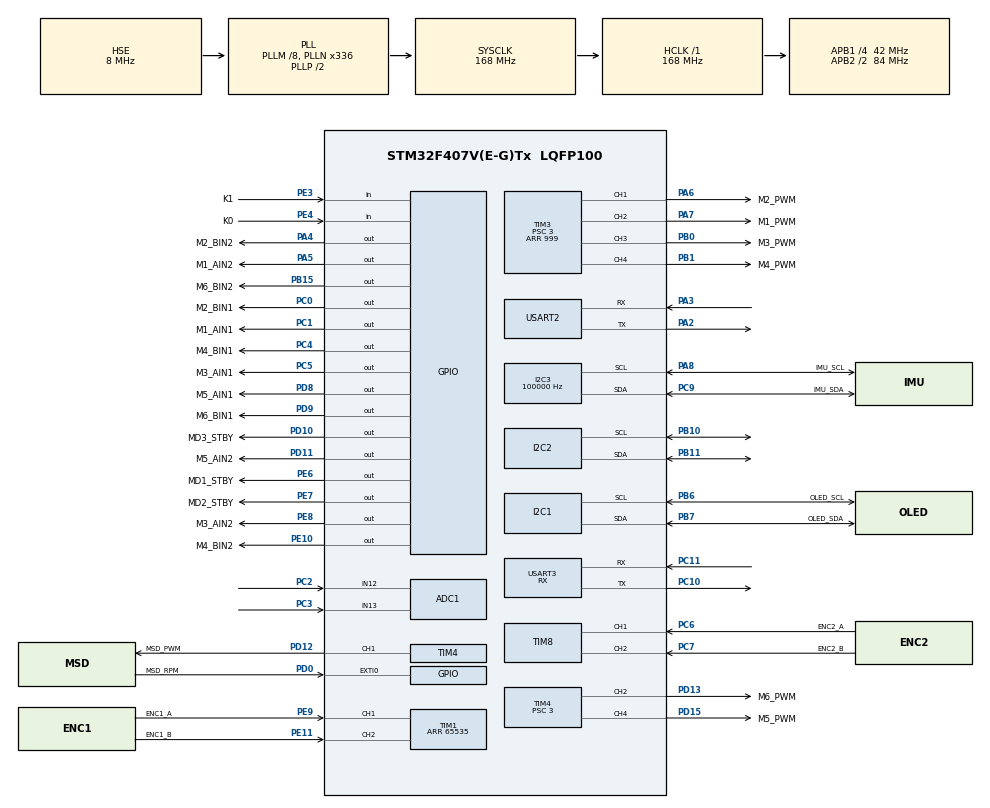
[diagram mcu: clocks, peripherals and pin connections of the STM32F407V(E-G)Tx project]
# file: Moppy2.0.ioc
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ADC1.Channel-0\#ChannelRegularConversion=ADC_CHANNEL_12
ADC1.NbrOfConversionFlag=1
ADC1.Rank-0\#ChannelRegularConversion=1
ADC1.SamplingTime-0\#ChannelRegularConversion=ADC_SAMPLETIME_3CYCLES
ADC1.master=1
Dma.I2C1_TX.1.Direction=DMA_MEMORY_TO_PERIPH
Dma.I2C1_TX.1.FIFOMode=DMA_FIFOMODE_DISABLE
Dma.I2C1_TX.1.Instance=DMA1_Stream6
Dma.I2C1_TX.1.MemDataAlignment=DMA_MDATAALIGN_BYTE
Dma.I2C1_TX.1.MemInc=DMA_MINC_ENABLE
Dma.I2C1_TX.1.Mode=DMA_NORMAL
Dma.I2C1_TX.1.PeriphDataAlignment=DMA_PDATAALIGN_BYTE
Dma.I2C1_TX.1.PeriphInc=DMA_PINC_DISABLE
Dma.I2C1_TX.1.Priority=DMA_PRIORITY_LOW
Dma.I2C2_RX.0.Direction=DMA_PERIPH_TO_MEMORY
Dma.I2C2_RX.0.FIFOMode=DMA_FIFOMODE_DISABLE
Dma.I2C2_RX.0.Instance=DMA1_Stream3
Dma.I2C2_RX.0.MemDataAlignment=DMA_MDATAALIGN_BYTE
Dma.I2C2_RX.0.MemInc=DMA_MINC_ENABLE
Dma.I2C2_RX.0.Mode=DMA_NORMAL
Dma.I2C2_RX.0.PeriphDataAlignment=DMA_PDATAALIGN_BYTE
Dma.I2C2_RX.0.PeriphInc=DMA_PINC_DISABLE
Dma.I2C2_RX.0.Priority=DMA_PRIORITY_LOW
Dma.I2C3_RX.3.Direction=DMA_PERIPH_TO_MEMORY
Dma.I2C3_RX.3.FIFOMode=DMA_FIFOMODE_DISABLE
Dma.I2C3_RX.3.Instance=DMA1_Stream2
Dma.I2C3_RX.3.MemDataAlignment=DMA_MDATAALIGN_BYTE
Dma.I2C3_RX.3.MemInc=DMA_MINC_ENABLE
Dma.I2C3_RX.3.Mode=DMA_NORMAL
Dma.I2C3_RX.3.PeriphDataAlignment=DMA_PDATAALIGN_BYTE
Dma.I2C3_RX.3.PeriphInc=DMA_PINC_DISABLE
Dma.I2C3_RX.3.Priority=DMA_PRIORITY_LOW
Dma.I2C3_TX.4.Direction=DMA_MEMORY_TO_PERIPH
Dma.I2C3_TX.4.FIFOMode=DMA_FIFOMODE_DISABLE
Dma.I2C3_TX.4.Instance=DMA1_Stream4
Dma.I2C3_TX.4.MemDataAlignment=DMA_MDATAALIGN_BYTE
Dma.I2C3_TX.4.MemInc=DMA_MINC_ENABLE
Dma.I2C3_TX.4.Mode=DMA_NORMAL
Dma.I2C3_TX.4.PeriphDataAlignment=DMA_PDATAALIGN_BYTE
Dma.I2C3_TX.4.PeriphInc=DMA_PINC_DISABLE
Dma.I2C3_TX.4.Priority=DMA_PRIORITY_LOW
Dma.Request0=I2C2_RX
Dma.Request1=I2C1_TX
Dma.Request2=USART3_RX
Dma.Request3=I2C3_RX
Dma.Request4=I2C3_TX
Dma.USART3_RX.2.Direction=DMA_PERIPH_TO_MEMORY
Dma.USART3_RX.2.FIFOMode=DMA_FIFOMODE_DISABLE
Dma.USART3_RX.2.Instance=DMA1_Stream1
Dma.USART3_RX.2.MemDataAlignment=DMA_MDATAALIGN_BYTE
Dma.USART3_RX.2.MemInc=DMA_MINC_ENABLE
Dma.USART3_RX.2.Mode=DMA_CIRCULAR
Dma.USART3_RX.2.PeriphDataAlignment=DMA_PDATAALIGN_BYTE
Dma.USART3_RX.2.PeriphInc=DMA_PINC_DISABLE
Dma.USART3_RX.2.Priority=DMA_PRIORITY_VERY_HIGH
I2C1.I2C_Mode=I2C_Fast
I2C2.I2C_Mode=I2C_Fast
I2C3.ClockSpeed=100000
I2C3.I2C_Mode=I2C_Fast
IWDG.Prescaler=IWDG_PRESCALER_64
Mcu.Family=STM32F4
Mcu.Name=STM32F407V(E-G)Tx
Mcu.Package=LQFP100
NVIC.DMA1_Stream1_IRQn=true\:0\:0\:false\:false\:true\:false\:true\:true
NVIC.DMA1_Stream2_IRQn=true\:0\:0\:false\:false\:true\:false\:true\:true
NVIC.DMA1_Stream3_IRQn=true\:0\:0\:false\:false\:true\:false\:true\:true
NVIC.DMA1_Stream4_IRQn=true\:0\:0\:false\:false\:true\:false\:true\:true
NVIC.DMA1_Stream6_IRQn=true\:0\:0\:false\:false\:true\:false\:true\:true
NVIC.EXTI0_IRQn=true\:0\:0\:false\:false\:true\:true\:true\:true
NVIC.I2C1_ER_IRQn=true\:0\:0\:false\:false\:true\:true\:true\:true
NVIC.I2C1_EV_IRQn=true\:0\:0\:false\:false\:true\:true\:true\:true
NVIC.I2C2_ER_IRQn=true\:0\:0\:false\:false\:true\:true\:true\:true
NVIC.I2C2_EV_IRQn=true\:0\:0\:false\:false\:true\:true\:true\:true
NVIC.I2C3_ER_IRQn=true\:0\:0\:false\:false\:true\:true\:true\:true
NVIC.I2C3_EV_IRQn=true\:0\:0\:false\:false\:true\:true\:true\:true
NVIC.PriorityGroup=NVIC_PRIORITYGROUP_4
NVIC.TIM1_UP_TIM10_IRQn=true\:0\:0\:false\:false\:true\:true\:true\:true
NVIC.TIM8_UP_TIM13_IRQn=true\:0\:0\:false\:false\:true\:true\:true\:true
NVIC.USART3_IRQn=true\:0\:0\:false\:false\:true\:true\:true\:true
PA13.Mode=Serial_Wire
PA13.Signal=SYS_JTMS-SWDIO
PA14.Mode=Serial_Wire
PA14.Signal=SYS_JTCK-SWCLK
PA2.Mode=Asynchronous
PA2.Signal=USART2_TX
PA3.Mode=Asynchronous
PA3.Signal=USART2_RX
PA4.GPIO_Label=M2_BIN2
PA4.Signal=GPIO_Output
PA5.GPIO_Label=M1_AIN2
PA5.Signal=GPIO_Output
PA6.GPIO_Label=M2_PWM
PA6.Signal=S_TIM3_CH1
PA7.GPIO_Label=M1_PWM
PA7.Signal=S_TIM3_CH2
PA8.GPIO_Label=IMU_SCL
PA8.GPIO_Pu=GPIO_PULLUP
PA8.Mode=I2C
PA8.Signal=I2C3_SCL
PB0.GPIO_Label=M3_PWM
PB0.Signal=S_TIM3_CH3
PB1.GPIO_Label=M4_PWM
PB1.Signal=S_TIM3_CH4
PB10.Mode=I2C
PB10.Signal=I2C2_SCL
PB11.Mode=I2C
PB11.Signal=I2C2_SDA
PB15.GPIO_Label=M6_BIN2
PB15.Signal=GPIO_Output
PB6.GPIO_Label=OLED_SCL
PB6.GPIO_Pu=GPIO_PULLUP
PB6.Mode=I2C
PB6.Signal=I2C1_SCL
PB7.GPIO_Label=OLED_SDA
PB7.GPIO_Pu=GPIO_PULLUP
PB7.Mode=I2C
PB7.Signal=I2C1_SDA
PC0.GPIO_Label=M2_BIN1
PC0.Signal=GPIO_Output
PC1.GPIO_Label=M1_AIN1
PC1.Signal=GPIO_Output
PC10.Mode=Asynchronous
PC10.Signal=USART3_TX
PC11.GPIO_PuPd=GPIO_PULLUP
PC11.Mode=Asynchronous
PC11.Signal=USART3_RX
PC2.Signal=ADCx_IN12
PC3.Signal=ADCx_IN13
PC4.GPIO_Label=M4_BIN1
PC4.Signal=GPIO_Output
PC5.GPIO_Label=M3_AIN1
PC5.Signal=GPIO_Output
PC6.GPIO_Label=ENC2_A
PC6.GPIO_PuPd=GPIO_PULLUP
PC6.Signal=S_TIM8_CH1
PC7.GPIO_Label=ENC2_B
PC7.GPIO_PuPd=GPIO_PULLUP
PC7.Signal=S_TIM8_CH2
PC9.GPIO_Label=IMU_SDA
PC9.GPIO_Pu=GPIO_PULLUP
PC9.Mode=I2C
PC9.Signal=I2C3_SDA
PD0.GPIO_Label=MSD_RPM
PD0.GPIO_PuPd=GPIO_PULLUP
PD0.Signal=GPXTI0
PD10.GPIO_Label=MD3_STBY
PD10.Signal=GPIO_Output
PD11.GPIO_Label=M5_AIN2
PD11.Signal=GPIO_Output
PD12.GPIO_Label=MSD_PWM
PD12.Signal=S_TIM4_CH1
PD13.GPIO_Label=M6_PWM
PD13.Signal=S_TIM4_CH2
PD15.GPIO_Label=M5_PWM
PD15.Signal=S_TIM4_CH4
PD8.GPIO_Label=M5_AIN1
PD8.Signal=GPIO_Output
PD9.GPIO_Label=M6_BIN1
PD9.Signal=GPIO_Output
PE10.GPIO_Label=M4_BIN2
PE10.Signal=GPIO_Output
PE11.GPIO_Label=ENC1_B
PE11.GPIO_PuPd=GPIO_PULLUP
PE11.Signal=S_TIM1_CH2
PE3.GPIO_Label=K1
PE3.GPIO_PuPd=GPIO_PULLUP
PE3.Signal=GPIO_Input
PE4.GPIO_Label=K0
PE4.GPIO_PuPd=GPIO_PULLUP
PE4.Signal=GPIO_Input
PE6.GPIO_Label=MD1_STBY
PE6.Signal=GPIO_Output
PE7.GPIO_Label=MD2_STBY
PE7.Signal=GPIO_Output
PE8.GPIO_Label=M3_AIN2
PE8.Signal=GPIO_Output
PE9.GPIO_Label=ENC1_A
PE9.GPIO_PuPd=GPIO_PULLUP
PE9.Signal=S_TIM1_CH1
PH0-OSC_IN.Mode=HSE-External-Oscillator
PH0-OSC_IN.Signal=RCC_OSC_IN
PH1-OSC_OUT.Mode=HSE-External-Oscillator
PH1-OSC_OUT.Signal=RCC_OSC_OUT
ProjectManager.HeapSize=0x200
ProjectManager.StackSize=0x400
ProjectManager.TargetToolchain=STM32CubeIDE
RCC.48MHZClocksFreq_Value=84000000
RCC.AHBFreq_Value=168000000
RCC.APB1CLKDivider=RCC_HCLK_DIV4
RCC.APB1Freq_Value=42000000
RCC.APB1TimFreq_Value=84000000
RCC.APB2CLKDivider=RCC_HCLK_DIV2
RCC.APB2Freq_Value=84000000
RCC.APB2TimFreq_Value=168000000
RCC.CortexFreq_Value=168000000
RCC.HCLKFreq_Value=168000000
RCC.HSE_VALUE=8000000
RCC.HSI_VALUE=16000000
RCC.LSE_VALUE=32768
RCC.PLLM=8
RCC.PLLN=336
RCC.PLLSourceVirtual=RCC_PLLSOURCE_HSE
RCC.SYSCLKFreq_VALUE=168000000
RCC.SYSCLKSource=RCC_SYSCLKSOURCE_PLLCLK
RCC.VCOOutputFreq_Value=336000000
SH.ADCx_IN12.0=ADC1_IN12,IN12
SH.ADCx_IN13.0=ADC1_IN13,IN13
SH.S_TIM1_CH1.0=TIM1_CH1,Encoder_Interface
SH.S_TIM1_CH2.0=TIM1_CH2,Encoder_Interface
SH.S_TIM3_CH1.0=TIM3_CH1,PWM Generation1 CH1
SH.S_TIM3_CH2.0=TIM3_CH2,PWM Generation2 CH2
SH.S_TIM3_CH3.0=TIM3_CH3,PWM Generation3 CH3
SH.S_TIM3_CH4.0=TIM3_CH4,PWM Generation4 CH4
SH.S_TIM4_CH1.0=TIM4_CH1,PWM Generation1 CH1
SH.S_TIM4_CH2.0=TIM4_CH2,PWM Generation2 CH2
SH.S_TIM4_CH4.0=TIM4_CH4,PWM Generation4 CH4
SH.S_TIM8_CH1.0=TIM8_CH1,Encoder_Interface
SH.S_TIM8_CH2.0=TIM8_CH2,Encoder_Interface
TIM1.AutoReloadPreload=TIM_AUTORELOAD_PRELOAD_ENABLE
TIM1.EncoderMode=TIM_ENCODERMODE_TI12
TIM1.IC2Filter=0
TIM1.Period=65535
TIM3.AutoReloadPreload=TIM_AUTORELOAD_PRELOAD_ENABLE
TIM3.Channel-PWM\ Generation1\ CH1=TIM_CHANNEL_1
TIM3.Channel-PWM\ Generation2\ CH2=TIM_CHANNEL_2
TIM3.Channel-PWM\ Generation3\ CH3=TIM_CHANNEL_3
TIM3.Channel-PWM\ Generation4\ CH4=TIM_CHANNEL_4
TIM3.Period=999
TIM3.Prescaler=3
TIM4.AutoReloadPreload=TIM_AUTORELOAD_PRELOAD_ENABLE
TIM4.Channel-PWM\ Generation1\ CH1=TIM_CHANNEL_1
TIM4.Channel-PWM\ Generation2\ CH2=TIM_CHANNEL_2
TIM4.Channel-PWM\ Generation4\ CH4=TIM_CHANNEL_4
TIM4.Period=999
TIM4.Prescaler=3
TIM8.AutoReloadPreload=TIM_AUTORELOAD_PRELOAD_ENABLE
TIM8.EncoderMode=TIM_ENCODERMODE_TI12
USART2.VirtualMode=VM_ASYNC
USART3.Mode=MODE_RX
USART3.VirtualMode=VM_ASYNC
VP_IWDG_VS_IWDG.Mode=IWDG_Activate
VP_TIM3_VS_ClockSourceINT.Mode=Internal
VP_TIM4_VS_ClockSourceINT.Mode=Internal
board=custom

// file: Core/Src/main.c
/* USER CODE BEGIN Header */
/**
  ******************************************************************************
  * @file           : main.c
  * @brief          : Main program body
  ******************************************************************************
  * @attention
  *
  * Copyright (c) 2026 STMicroelectronics.
  * All rights reserved.
  *
  * This software is licensed under terms that can be found in the LICENSE file
  * in the root directory of this software component.
  * If no LICENSE file comes with this software, it is provided AS-IS.
  *
  ******************************************************************************
  */
/* USER CODE END Header */
#include "main.h"
#include "cmsis_os.h"

/* USER CODE BEGIN Includes */
#include "general.h"
#include "telemetry.h"
/* USER CODE END Includes */

ADC_HandleTypeDef hadc1;

I2C_HandleTypeDef hi2c1;
I2C_HandleTypeDef hi2c2;
I2C_HandleTypeDef hi2c3;
DMA_HandleTypeDef hdma_i2c1_tx;
DMA_HandleTypeDef hdma_i2c3_rx;
DMA_HandleTypeDef hdma_i2c3_tx;

IWDG_HandleTypeDef hiwdg;

TIM_HandleTypeDef htim1;
TIM_HandleTypeDef htim3;
TIM_HandleTypeDef htim4;
TIM_HandleTypeDef htim8;

UART_HandleTypeDef huart2;
UART_HandleTypeDef huart3;
DMA_HandleTypeDef hdma_usart2_tx;
DMA_HandleTypeDef hdma_usart2_rx;
DMA_HandleTypeDef hdma_usart3_rx;

/* Definitions for ImuTask */
osThreadId_t ImuTaskHandle;
const osThreadAttr_t ImuTask_attributes = {
  .name = "ImuTask",
  .stack_size = 256 * 4,
  .priority = (osPriority_t) osPriorityNormal,
};
/* Definitions for WheelTask */
osThreadId_t WheelTaskHandle;
const osThreadAttr_t WheelTask_attributes = {
  .name = "WheelTask",
  .stack_size = 256 * 4,
  .priority = (osPriority_t) osPriorityHigh,
};
/* Definitions for GeneralTask */
osThreadId_t GeneralTaskHandle;
const osThreadAttr_t GeneralTask_attributes = {
  .name = "GeneralTask",
  .stack_size = 512 * 4,
  .priority = (osPriority_t) osPriorityLow3,
};
/* Definitions for TelemetryTask */
osThreadId_t TelemetryTaskHandle;
const osThreadAttr_t TelemetryTask_attributes = {
  .name = "TelemetryTask",
  .stack_size = 384 * 4,
  .priority = (osPriority_t) osPriorityLow,
};
/* USER CODE BEGIN PV */

#if DEBUG_BOOT_STAGES
volatile uint32_t debug_boot_stage = 0;
#endif

#if DEBUG_GENERAL_RUN_COUNT
volatile uint32_t debug_general_run_count = 0;
#endif

volatile uint32_t debug_chassis_dt_ms = 0U;
volatile uint32_t debug_chassis_dt_max_ms = 0U;
volatile uint32_t debug_chassis_late_count = 0U;
/* USER CODE END PV */

void SystemClock_Config(void);
static void MX_GPIO_Init(void);
static void MX_DMA_Init(void);
static void MX_TIM1_Init(void);
static void MX_IWDG_Init(void);
static void MX_TIM3_Init(void);
static void MX_TIM4_Init(void);
static void MX_TIM8_Init(void);
static void MX_I2C2_Init(void);
static void MX_I2C1_Init(void);
static void MX_ADC1_Init(void);
static void MX_I2C3_Init(void);
static void MX_USART2_UART_Init(void);
static void MX_USART3_UART_Init(void);
void StartImuTask(void *argument);
void StartWheelTask(void *argument);
void StartGeneralTask(void *argument);
void StartTelemetryTask(void *argument);

int main(void)
{

  /* MCU Configuration--------------------------------------------------------*/

  /* Reset of all peripherals, Initializes the Flash interface and the Systick. */
  HAL_Init();

  /* Configure the system clock */
  SystemClock_Config();

  /* Initialize all configured peripherals */
  MX_GPIO_Init();
  MX_DMA_Init();
  MX_TIM1_Init();
  MX_IWDG_Init();
  MX_TIM3_Init();
  MX_TIM4_Init();
  MX_TIM8_Init();
  MX_I2C2_Init();
  MX_I2C1_Init();
  MX_ADC1_Init();
  MX_I2C3_Init();
  MX_USART2_UART_Init();
  MX_USART3_UART_Init();
  /* USER CODE BEGIN 2 */
  /*DEBUG_BOOT_STAGE(1);
  HAL_Init();

  DEBUG_BOOT_STAGE(2);
  SystemClock_Config();

  DEBUG_BOOT_STAGE(3);
  MX_GPIO_Init();

  DEBUG_BOOT_STAGE(4);
  MX_DMA_Init();

  DEBUG_BOOT_STAGE(5);
  MX_TIM1_Init();

  DEBUG_BOOT_STAGE(6);
  MX_IWDG_Init();

  DEBUG_BOOT_STAGE(7);
  MX_TIM3_Init();

  DEBUG_BOOT_STAGE(8);
  MX_TIM4_Init();

  DEBUG_BOOT_STAGE(9);
  MX_TIM8_Init();

  DEBUG_BOOT_STAGE(10);
  MX_I2C2_Init();

  DEBUG_BOOT_STAGE(11);
  MX_I2C1_Init();

  DEBUG_BOOT_STAGE(12);
  MX_ADC1_Init();

  DEBUG_BOOT_STAGE(13);
  MX_I2C3_Init();

  DEBUG_BOOT_STAGE(14);
  MX_USART2_UART_Init();

  DEBUG_BOOT_STAGE(15);
  MX_USART3_UART_Init();*/

  DEBUG_BOOT_STAGE(20);
  General_Init();

  DEBUG_BOOT_STAGE(21);
  Telemetry_Init();
  //MainWheels_Init();
  /* USER CODE END 2 */

  /* Init scheduler */
  osKernelInitialize();

  /* Create the thread(s) */
  /* creation of ImuTask */
  ImuTaskHandle = osThreadNew(StartImuTask, NULL, &ImuTask_attributes);

  /* creation of WheelTask */
  WheelTaskHandle = osThreadNew(StartWheelTask, NULL, &WheelTask_attributes);

  /* creation of GeneralTask */
  GeneralTaskHandle = osThreadNew(StartGeneralTask, NULL, &GeneralTask_attributes);

  /* creation of TelemetryTask */
  TelemetryTaskHandle = osThreadNew(StartTelemetryTask, NULL, &TelemetryTask_attributes);

  /* Start scheduler */
  osKernelStart();

  /* We should never get here as control is now taken by the scheduler */

  /* Infinite loop */
  /* USER CODE BEGIN WHILE */
  while (1)
  {
	  /*
	    DEBUG_GENERAL_RUN_COUNT_INC();
	    DEBUG_BOOT_STAGE(22);
	    General_Run();
	    DEBUG_BOOT_STAGE(23);
	    */
    /* USER CODE END WHILE */

  }
}

void SystemClock_Config(void)
{
  RCC_OscInitTypeDef RCC_OscInitStruct = {0};
  RCC_ClkInitTypeDef RCC_ClkInitStruct = {0};

  /** Configure the main internal regulator output voltage
  */
  __HAL_RCC_PWR_CLK_ENABLE();
  __HAL_PWR_VOLTAGESCALING_CONFIG(PWR_REGULATOR_VOLTAGE_SCALE1);

  /** Initializes the RCC Oscillators according to the specified parameters
  * in the RCC_OscInitTypeDef structure.
  */
  RCC_OscInitStruct.OscillatorType = RCC_OSCILLATORTYPE_LSI|RCC_OSCILLATORTYPE_HSE;
  RCC_OscInitStruct.HSEState = RCC_HSE_ON;
  RCC_OscInitStruct.LSIState = RCC_LSI_ON;
  RCC_OscInitStruct.PLL.PLLState = RCC_PLL_ON;
  RCC_OscInitStruct.PLL.PLLSource = RCC_PLLSOURCE_HSE;
  RCC_OscInitStruct.PLL.PLLM = 8;
  RCC_OscInitStruct.PLL.PLLN = 336;
  RCC_OscInitStruct.PLL.PLLP = RCC_PLLP_DIV2;
  RCC_OscInitStruct.PLL.PLLQ = 4;
  if (HAL_RCC_OscConfig(&RCC_OscInitStruct) != HAL_OK)
  {
    Error_Handler();
  }

  /** Initializes the CPU, AHB and APB buses clocks
  */
  RCC_ClkInitStruct.ClockType = RCC_CLOCKTYPE_HCLK|RCC_CLOCKTYPE_SYSCLK
                              |RCC_CLOCKTYPE_PCLK1|RCC_CLOCKTYPE_PCLK2;
  RCC_ClkInitStruct.SYSCLKSource = RCC_SYSCLKSOURCE_PLLCLK;
  RCC_ClkInitStruct.AHBCLKDivider = RCC_SYSCLK_DIV1;
  RCC_ClkInitStruct.APB1CLKDivider = RCC_HCLK_DIV4;
  RCC_ClkInitStruct.APB2CLKDivider = RCC_HCLK_DIV2;

  if (HAL_RCC_ClockConfig(&RCC_ClkInitStruct, FLASH_LATENCY_5) != HAL_OK)
  {
    Error_Handler();
  }
}

static void MX_ADC1_Init(void)
{

  ADC_ChannelConfTypeDef sConfig = {0};

  /** Configure the global features of the ADC (Clock, Resolution, Data Alignment and number of conversion)
  */
  hadc1.Instance = ADC1;
  hadc1.Init.ClockPrescaler = ADC_CLOCK_SYNC_PCLK_DIV4;
  hadc1.Init.Resolution = ADC_RESOLUTION_12B;
  hadc1.Init.ScanConvMode = DISABLE;
  hadc1.Init.ContinuousConvMode = DISABLE;
  hadc1.Init.DiscontinuousConvMode = DISABLE;
  hadc1.Init.ExternalTrigConvEdge = ADC_EXTERNALTRIGCONVEDGE_NONE;
  hadc1.Init.ExternalTrigConv = ADC_SOFTWARE_START;
  hadc1.Init.DataAlign = ADC_DATAALIGN_RIGHT;
  hadc1.Init.NbrOfConversion = 1;
  hadc1.Init.DMAContinuousRequests = DISABLE;
  hadc1.Init.EOCSelection = ADC_EOC_SINGLE_CONV;
  if (HAL_ADC_Init(&hadc1) != HAL_OK)
  {
    Error_Handler();
  }

  /** Configure for the selected ADC regular channel its corresponding rank in the sequencer and its sample time.
  */
  sConfig.Channel = ADC_CHANNEL_12;
  sConfig.Rank = 1;
  sConfig.SamplingTime = ADC_SAMPLETIME_3CYCLES;
  if (HAL_ADC_ConfigChannel(&hadc1, &sConfig) != HAL_OK)
  {
    Error_Handler();
  }

}

static void MX_I2C1_Init(void)
{

  hi2c1.Instance = I2C1;
  hi2c1.Init.ClockSpeed = 400000;
  hi2c1.Init.DutyCycle = I2C_DUTYCYCLE_2;
  hi2c1.Init.OwnAddress1 = 0;
  hi2c1.Init.AddressingMode = I2C_ADDRESSINGMODE_7BIT;
  hi2c1.Init.DualAddressMode = I2C_DUALADDRESS_DISABLE;
  hi2c1.Init.OwnAddress2 = 0;
  hi2c1.Init.GeneralCallMode = I2C_GENERALCALL_DISABLE;
  hi2c1.Init.NoStretchMode = I2C_NOSTRETCH_DISABLE;
  if (HAL_I2C_Init(&hi2c1) != HAL_OK)
  {
    Error_Handler();
  }

}

static void MX_I2C2_Init(void)
{

  hi2c2.Instance = I2C2;
  hi2c2.Init.ClockSpeed = 100000;
  hi2c2.Init.DutyCycle = I2C_DUTYCYCLE_2;
  hi2c2.Init.OwnAddress1 = 0;
  hi2c2.Init.AddressingMode = I2C_ADDRESSINGMODE_7BIT;
  hi2c2.Init.DualAddressMode = I2C_DUALADDRESS_DISABLE;
  hi2c2.Init.OwnAddress2 = 0;
  hi2c2.Init.GeneralCallMode = I2C_GENERALCALL_DISABLE;
  hi2c2.Init.NoStretchMode = I2C_NOSTRETCH_DISABLE;
  if (HAL_I2C_Init(&hi2c2) != HAL_OK)
  {
    Error_Handler();
  }

}

static void MX_I2C3_Init(void)
{

  hi2c3.Instance = I2C3;
  hi2c3.Init.ClockSpeed = 100000;
  hi2c3.Init.DutyCycle = I2C_DUTYCYCLE_2;
  hi2c3.Init.OwnAddress1 = 0;
  hi2c3.Init.AddressingMode = I2C_ADDRESSINGMODE_7BIT;
  hi2c3.Init.DualAddressMode = I2C_DUALADDRESS_DISABLE;
  hi2c3.Init.OwnAddress2 = 0;
  hi2c3.Init.GeneralCallMode = I2C_GENERALCALL_DISABLE;
  hi2c3.Init.NoStretchMode = I2C_NOSTRETCH_DISABLE;
  if (HAL_I2C_Init(&hi2c3) != HAL_OK)
  {
    Error_Handler();
  }

}

static void MX_IWDG_Init(void)
{

  hiwdg.Instance = IWDG;
  hiwdg.Init.Prescaler = IWDG_PRESCALER_64;
  hiwdg.Init.Reload = 4095;
  if (HAL_IWDG_Init(&hiwdg) != HAL_OK)
  {
    Error_Handler();
  }

}

static void MX_TIM1_Init(void)
{

  TIM_Encoder_InitTypeDef sConfig = {0};
  TIM_MasterConfigTypeDef sMasterConfig = {0};

  htim1.Instance = TIM1;
  htim1.Init.Prescaler = 0;
  htim1.Init.CounterMode = TIM_COUNTERMODE_UP;
  htim1.Init.Period = 65535;
  htim1.Init.ClockDivision = TIM_CLOCKDIVISION_DIV1;
  htim1.Init.RepetitionCounter = 0;
  htim1.Init.AutoReloadPreload = TIM_AUTORELOAD_PRELOAD_ENABLE;
  sConfig.EncoderMode = TIM_ENCODERMODE_TI12;
  sConfig.IC1Polarity = TIM_ICPOLARITY_RISING;
  sConfig.IC1Selection = TIM_ICSELECTION_DIRECTTI;
  sConfig.IC1Prescaler = TIM_ICPSC_DIV1;
  sConfig.IC1Filter = 0;
  sConfig.IC2Polarity = TIM_ICPOLARITY_RISING;
  sConfig.IC2Selection = TIM_ICSELECTION_DIRECTTI;
  sConfig.IC2Prescaler = TIM_ICPSC_DIV1;
  sConfig.IC2Filter = 0;
  if (HAL_TIM_Encoder_Init(&htim1, &sConfig) != HAL_OK)
  {
    Error_Handler();
  }
  sMasterConfig.MasterOutputTrigger = TIM_TRGO_RESET;
  sMasterConfig.MasterSlaveMode = TIM_MASTERSLAVEMODE_DISABLE;
  if (HAL_TIMEx_MasterConfigSynchronization(&htim1, &sMasterConfig) != HAL_OK)
  {
    Error_Handler();
  }

}

static void MX_TIM3_Init(void)
{

  TIM_ClockConfigTypeDef sClockSourceConfig = {0};
  TIM_MasterConfigTypeDef sMasterConfig = {0};
  TIM_OC_InitTypeDef sConfigOC = {0};

  htim3.Instance = TIM3;
  htim3.Init.Prescaler = 3;
  htim3.Init.CounterMode = TIM_COUNTERMODE_UP;
  htim3.Init.Period = 999;
  htim3.Init.ClockDivision = TIM_CLOCKDIVISION_DIV1;
  htim3.Init.AutoReloadPreload = TIM_AUTORELOAD_PRELOAD_ENABLE;
  if (HAL_TIM_Base_Init(&htim3) != HAL_OK)
  {
    Error_Handler();
  }
  sClockSourceConfig.ClockSource = TIM_CLOCKSOURCE_INTERNAL;
  if (HAL_TIM_ConfigClockSource(&htim3, &sClockSourceConfig) != HAL_OK)
  {
    Error_Handler();
  }
  if (HAL_TIM_PWM_Init(&htim3) != HAL_OK)
  {
    Error_Handler();
  }
  sMasterConfig.MasterOutputTrigger = TIM_TRGO_RESET;
  sMasterConfig.MasterSlaveMode = TIM_MASTERSLAVEMODE_DISABLE;
  if (HAL_TIMEx_MasterConfigSynchronization(&htim3, &sMasterConfig) != HAL_OK)
  {
    Error_Handler();
  }
  sConfigOC.OCMode = TIM_OCMODE_PWM1;
  sConfigOC.Pulse = 0;
  sConfigOC.OCPolarity = TIM_OCPOLARITY_HIGH;
  sConfigOC.OCFastMode = TIM_OCFAST_DISABLE;
  if (HAL_TIM_PWM_ConfigChannel(&htim3, &sConfigOC, TIM_CHANNEL_1) != HAL_OK)
  {
    Error_Handler();
  }
  if (HAL_TIM_PWM_ConfigChannel(&htim3, &sConfigOC, TIM_CHANNEL_2) != HAL_OK)
  {
    Error_Handler();
  }
  if (HAL_TIM_PWM_ConfigChannel(&htim3, &sConfigOC, TIM_CHANNEL_3) != HAL_OK)
  {
    Error_Handler();
  }
  if (HAL_TIM_PWM_ConfigChannel(&htim3, &sConfigOC, TIM_CHANNEL_4) != HAL_OK)
  {
    Error_Handler();
  }
  HAL_TIM_MspPostInit(&htim3);

}

static void MX_TIM4_Init(void)
{

  TIM_ClockConfigTypeDef sClockSourceConfig = {0};
  TIM_MasterConfigTypeDef sMasterConfig = {0};
  TIM_OC_InitTypeDef sConfigOC = {0};

  htim4.Instance = TIM4;
  htim4.Init.Prescaler = 3;
  htim4.Init.CounterMode = TIM_COUNTERMODE_UP;
  htim4.Init.Period = 999;
  htim4.Init.ClockDivision = TIM_CLOCKDIVISION_DIV1;
  htim4.Init.AutoReloadPreload = TIM_AUTORELOAD_PRELOAD_ENABLE;
  if (HAL_TIM_Base_Init(&htim4) != HAL_OK)
  {
    Error_Handler();
  }
  sClockSourceConfig.ClockSource = TIM_CLOCKSOURCE_INTERNAL;
  if (HAL_TIM_ConfigClockSource(&htim4, &sClockSourceConfig) != HAL_OK)
  {
    Error_Handler();
  }
  if (HAL_TIM_PWM_Init(&htim4) != HAL_OK)
  {
    Error_Handler();
  }
  sMasterConfig.MasterOutputTrigger = TIM_TRGO_RESET;
  sMasterConfig.MasterSlaveMode = TIM_MASTERSLAVEMODE_DISABLE;
  if (HAL_TIMEx_MasterConfigSynchronization(&htim4, &sMasterConfig) != HAL_OK)
  {
    Error_Handler();
  }
  sConfigOC.OCMode = TIM_OCMODE_PWM1;
  sConfigOC.Pulse = 0;
  sConfigOC.OCPolarity = TIM_OCPOLARITY_HIGH;
  sConfigOC.OCFastMode = TIM_OCFAST_DISABLE;
  if (HAL_TIM_PWM_ConfigChannel(&htim4, &sConfigOC, TIM_CHANNEL_1) != HAL_OK)
  {
    Error_Handler();
  }
  if (HAL_TIM_PWM_ConfigChannel(&htim4, &sConfigOC, TIM_CHANNEL_2) != HAL_OK)
  {
    Error_Handler();
  }
  if (HAL_TIM_PWM_ConfigChannel(&htim4, &sConfigOC, TIM_CHANNEL_4) != HAL_OK)
  {
    Error_Handler();
  }
  HAL_TIM_MspPostInit(&htim4);

}

static void MX_TIM8_Init(void)
{

  TIM_Encoder_InitTypeDef sConfig = {0};
  TIM_MasterConfigTypeDef sMasterConfig = {0};

  htim8.Instance = TIM8;
  htim8.Init.Prescaler = 0;
  htim8.Init.CounterMode = TIM_COUNTERMODE_UP;
  htim8.Init.Period = 65535;
  htim8.Init.ClockDivision = TIM_CLOCKDIVISION_DIV1;
  htim8.Init.RepetitionCounter = 0;
  htim8.Init.AutoReloadPreload = TIM_AUTORELOAD_PRELOAD_ENABLE;
  sConfig.EncoderMode = TIM_ENCODERMODE_TI12;
  sConfig.IC1Polarity = TIM_ICPOLARITY_RISING;
  sConfig.IC1Selection = TIM_ICSELECTION_DIRECTTI;
  sConfig.IC1Prescaler = TIM_ICPSC_DIV1;
  sConfig.IC1Filter = 0;
  sConfig.IC2Polarity = TIM_ICPOLARITY_RISING;
  sConfig.IC2Selection = TIM_ICSELECTION_DIRECTTI;
  sConfig.IC2Prescaler = TIM_ICPSC_DIV1;
  sConfig.IC2Filter = 0;
  if (HAL_TIM_Encoder_Init(&htim8, &sConfig) != HAL_OK)
  {
    Error_Handler();
  }
  sMasterConfig.MasterOutputTrigger = TIM_TRGO_RESET;
  sMasterConfig.MasterSlaveMode = TIM_MASTERSLAVEMODE_DISABLE;
  if (HAL_TIMEx_MasterConfigSynchronization(&htim8, &sMasterConfig) != HAL_OK)
  {
    Error_Handler();
  }

}

static void MX_USART2_UART_Init(void)
{

  huart2.Instance = USART2;
  huart2.Init.BaudRate = 115200;
  huart2.Init.WordLength = UART_WORDLENGTH_8B;
  huart2.Init.StopBits = UART_STOPBITS_1;
  huart2.Init.Parity = UART_PARITY_NONE;
  huart2.Init.Mode = UART_MODE_TX_RX;
  huart2.Init.HwFlowCtl = UART_HWCONTROL_NONE;
  huart2.Init.OverSampling = UART_OVERSAMPLING_16;
  if (HAL_UART_Init(&huart2) != HAL_OK)
  {
    Error_Handler();
  }

}

static void MX_USART3_UART_Init(void)
{

  huart3.Instance = USART3;
  huart3.Init.BaudRate = 115200;
  huart3.Init.WordLength = UART_WORDLENGTH_8B;
  huart3.Init.StopBits = UART_STOPBITS_1;
  huart3.Init.Parity = UART_PARITY_NONE;
  huart3.Init.Mode = UART_MODE_RX;
  huart3.Init.HwFlowCtl = UART_HWCONTROL_NONE;
  huart3.Init.OverSampling = UART_OVERSAMPLING_16;
  if (HAL_UART_Init(&huart3) != HAL_OK)
  {
    Error_Handler();
  }

}

static void MX_DMA_Init(void)
{

  /* DMA controller clock enable */
  __HAL_RCC_DMA1_CLK_ENABLE();

  /* DMA interrupt init */
  /* DMA1_Stream1_IRQn interrupt configuration */
  HAL_NVIC_SetPriority(DMA1_Stream1_IRQn, 5, 0);
  HAL_NVIC_EnableIRQ(DMA1_Stream1_IRQn);
  /* DMA1_Stream2_IRQn interrupt configuration */
  HAL_NVIC_SetPriority(DMA1_Stream2_IRQn, 5, 0);
  HAL_NVIC_EnableIRQ(DMA1_Stream2_IRQn);
  /* DMA1_Stream4_IRQn interrupt configuration */
  HAL_NVIC_SetPriority(DMA1_Stream4_IRQn, 5, 0);
  HAL_NVIC_EnableIRQ(DMA1_Stream4_IRQn);
  /* DMA1_Stream5_IRQn interrupt configuration */
  HAL_NVIC_SetPriority(DMA1_Stream5_IRQn, 5, 0);
  HAL_NVIC_EnableIRQ(DMA1_Stream5_IRQn);
  /* DMA1_Stream6_IRQn interrupt configuration */
  HAL_NVIC_SetPriority(DMA1_Stream6_IRQn, 5, 0);
  HAL_NVIC_EnableIRQ(DMA1_Stream6_IRQn);
  /* DMA1_Stream7_IRQn interrupt configuration */
  HAL_NVIC_SetPriority(DMA1_Stream7_IRQn, 5, 0);
  HAL_NVIC_EnableIRQ(DMA1_Stream7_IRQn);

}

static void MX_GPIO_Init(void)
{
  GPIO_InitTypeDef GPIO_InitStruct = {0};

  /* GPIO Ports Clock Enable */
  __HAL_RCC_GPIOE_CLK_ENABLE();
  __HAL_RCC_GPIOH_CLK_ENABLE();
  __HAL_RCC_GPIOC_CLK_ENABLE();
  __HAL_RCC_GPIOA_CLK_ENABLE();
  __HAL_RCC_GPIOB_CLK_ENABLE();
  __HAL_RCC_GPIOD_CLK_ENABLE();

  /*Configure GPIO pin Output Level */
  HAL_GPIO_WritePin(GPIOE, MD1_STBY_Pin|MD2_STBY_Pin|M3_AIN2_Pin|M4_BIN2_Pin, GPIO_PIN_RESET);

  /*Configure GPIO pin Output Level */
  HAL_GPIO_WritePin(GPIOC, M2_BIN1_Pin|M1_AIN1_Pin|M4_BIN1_Pin|M3_AIN1_Pin, GPIO_PIN_RESET);

  /*Configure GPIO pin Output Level */
  HAL_GPIO_WritePin(GPIOA, M2_BIN2_Pin|M1_AIN2_Pin, GPIO_PIN_RESET);

  /*Configure GPIO pin Output Level */
  HAL_GPIO_WritePin(M6_BIN2_GPIO_Port, M6_BIN2_Pin, GPIO_PIN_RESET);

  /*Configure GPIO pin Output Level */
  HAL_GPIO_WritePin(GPIOD, M5_AIN1_Pin|M6_BIN1_Pin|MD3_STBY_Pin|M5_AIN2_Pin, GPIO_PIN_RESET);

  /*Configure GPIO pins : K1_Pin K0_Pin */
  GPIO_InitStruct.Pin = K1_Pin|K0_Pin;
  GPIO_InitStruct.Mode = GPIO_MODE_INPUT;
  GPIO_InitStruct.Pull = GPIO_PULLUP;
  HAL_GPIO_Init(GPIOE, &GPIO_InitStruct);

  /*Configure GPIO pins : MD1_STBY_Pin MD2_STBY_Pin M3_AIN2_Pin M4_BIN2_Pin */
  GPIO_InitStruct.Pin = MD1_STBY_Pin|MD2_STBY_Pin|M3_AIN2_Pin|M4_BIN2_Pin;
  GPIO_InitStruct.Mode = GPIO_MODE_OUTPUT_PP;
  GPIO_InitStruct.Pull = GPIO_NOPULL;
  GPIO_InitStruct.Speed = GPIO_SPEED_FREQ_LOW;
  HAL_GPIO_Init(GPIOE, &GPIO_InitStruct);

  /*Configure GPIO pins : M2_BIN1_Pin M1_AIN1_Pin M4_BIN1_Pin M3_AIN1_Pin */
  GPIO_InitStruct.Pin = M2_BIN1_Pin|M1_AIN1_Pin|M4_BIN1_Pin|M3_AIN1_Pin;
  GPIO_InitStruct.Mode = GPIO_MODE_OUTPUT_PP;
  GPIO_InitStruct.Pull = GPIO_NOPULL;
  GPIO_InitStruct.Speed = GPIO_SPEED_FREQ_LOW;
  HAL_GPIO_Init(GPIOC, &GPIO_InitStruct);

  /*Configure GPIO pins : M2_BIN2_Pin M1_AIN2_Pin */
  GPIO_InitStruct.Pin = M2_BIN2_Pin|M1_AIN2_Pin;
  GPIO_InitStruct.Mode = GPIO_MODE_OUTPUT_PP;
  GPIO_InitStruct.Pull = GPIO_NOPULL;
  GPIO_InitStruct.Speed = GPIO_SPEED_FREQ_LOW;
  HAL_GPIO_Init(GPIOA, &GPIO_InitStruct);

  /*Configure GPIO pin : M6_BIN2_Pin */
  GPIO_InitStruct.Pin = M6_BIN2_Pin;
  GPIO_InitStruct.Mode = GPIO_MODE_OUTPUT_PP;
  GPIO_InitStruct.Pull = GPIO_NOPULL;
  GPIO_InitStruct.Speed = GPIO_SPEED_FREQ_LOW;
  HAL_GPIO_Init(M6_BIN2_GPIO_Port, &GPIO_InitStruct);

  /*Configure GPIO pins : M5_AIN1_Pin M6_BIN1_Pin MD3_STBY_Pin M5_AIN2_Pin */
  GPIO_InitStruct.Pin = M5_AIN1_Pin|M6_BIN1_Pin|MD3_STBY_Pin|M5_AIN2_Pin;
  GPIO_InitStruct.Mode = GPIO_MODE_OUTPUT_PP;
  GPIO_InitStruct.Pull = GPIO_NOPULL;
  GPIO_InitStruct.Speed = GPIO_SPEED_FREQ_LOW;
  HAL_GPIO_Init(GPIOD, &GPIO_InitStruct);

  /*Configure GPIO pin : MSD_RPM_Pin */
  GPIO_InitStruct.Pin = MSD_RPM_Pin;
  GPIO_InitStruct.Mode = GPIO_MODE_IT_RISING;
  GPIO_InitStruct.Pull = GPIO_PULLUP;
  HAL_GPIO_Init(MSD_RPM_GPIO_Port, &GPIO_InitStruct);

  /* EXTI interrupt init*/
  HAL_NVIC_SetPriority(EXTI0_IRQn, 5, 0);
  HAL_NVIC_EnableIRQ(EXTI0_IRQn);

}

void StartImuTask(void *argument)
{
  /* USER CODE BEGIN 5 */
  /* Infinite loop */
    (void)argument;

    for (;;)
    {
        IMU_Process();
        osDelay(1);
    }
  /* USER CODE END 5 */
}

void StartWheelTask(void *argument)
{
  /* USER CODE BEGIN StartWheelTask */
  /* Infinite loop */
    (void)argument;

    uint32_t next_wake = osKernelGetTickCount();
    uint32_t previous_update = next_wake;

    for (;;)
    {
    	uint32_t now = osKernelGetTickCount();
		uint32_t dt = now - previous_update;

		debug_chassis_dt_ms = dt;

		if (dt > debug_chassis_dt_max_ms)
		{
			debug_chassis_dt_max_ms = dt;
		}

		if (dt > 25U)
		{
			debug_chassis_late_count++;
		}

		previous_update = now;

        Chassis_Update();

        next_wake += 20U;
        (void)osDelayUntil(next_wake);
    }
  /* USER CODE END StartWheelTask */
}

void StartGeneralTask(void *argument)
{
  /* USER CODE BEGIN StartGeneralTask */
  /* Infinite loop */
    (void)argument;

    for (;;)
    {
        General_Run();
        osDelay(1);
    }
  /* USER CODE END StartGeneralTask */
}

void StartTelemetryTask(void *argument)
{
  /* USER CODE BEGIN StartTelemetryTask */
  /* Infinite loop */
    (void)argument;

    uint32_t next_wake = osKernelGetTickCount();

    for (;;)
    {
        Telemetry_TaskStep();

        next_wake += 20U;  /* 50 Hz */
        (void)osDelayUntil(next_wake);
    }
  /* USER CODE END StartTelemetryTask */
}

void HAL_TIM_PeriodElapsedCallback(TIM_HandleTypeDef *htim)
{
  if (htim->Instance == TIM6)
  {
    HAL_IncTick();
  }
}

void Error_Handler(void)
{
  __disable_irq();
  while (1)
  {
  }
}
